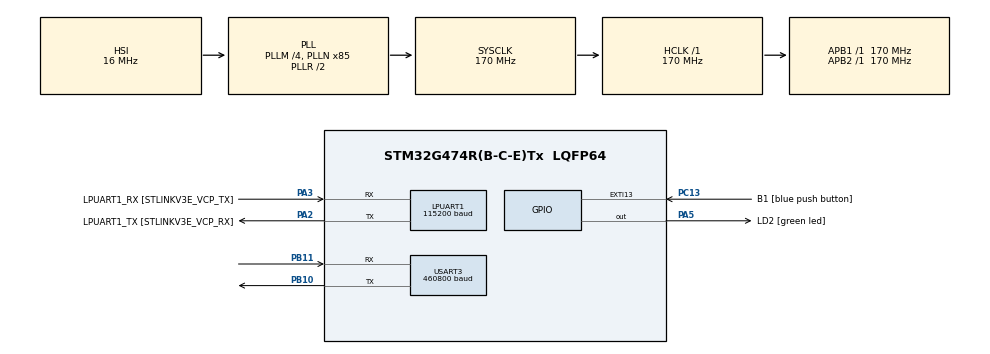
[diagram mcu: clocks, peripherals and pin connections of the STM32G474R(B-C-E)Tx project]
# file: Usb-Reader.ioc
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Dma.Request0=USART3_RX
Dma.USART3_RX.0.Direction=DMA_PERIPH_TO_MEMORY
Dma.USART3_RX.0.EventEnable=DISABLE
Dma.USART3_RX.0.Instance=DMA1_Channel1
Dma.USART3_RX.0.MemDataAlignment=DMA_MDATAALIGN_BYTE
Dma.USART3_RX.0.MemInc=DMA_MINC_ENABLE
Dma.USART3_RX.0.Mode=DMA_NORMAL
Dma.USART3_RX.0.PeriphDataAlignment=DMA_PDATAALIGN_BYTE
Dma.USART3_RX.0.PeriphInc=DMA_PINC_DISABLE
Dma.USART3_RX.0.Polarity=HAL_DMAMUX_REQ_GEN_RISING
Dma.USART3_RX.0.Priority=DMA_PRIORITY_LOW
Dma.USART3_RX.0.RequestNumber=1
Dma.USART3_RX.0.SignalID=NONE
Dma.USART3_RX.0.SyncEnable=DISABLE
Dma.USART3_RX.0.SyncPolarity=HAL_DMAMUX_SYNC_NO_EVENT
Dma.USART3_RX.0.SyncRequestNumber=1
Dma.USART3_RX.0.SyncSignalID=NONE
LPUART1.BaudRate=115200
Mcu.Family=STM32G4
Mcu.Name=STM32G474R(B-C-E)Tx
Mcu.Package=LQFP64
NVIC.DMA1_Channel1_IRQn=true\:0\:0\:false\:false\:true\:false\:true\:true
NVIC.EXTI15_10_IRQn=true\:0\:0\:false\:false\:true\:true\:true\:true
NVIC.PriorityGroup=NVIC_PRIORITYGROUP_4
NVIC.USART3_IRQn=true\:0\:0\:false\:false\:true\:true\:true\:true
PA13.GPIO_Label=T_SWDIO
PA13.Signal=SYS_JTMS-SWDIO
PA14.GPIO_Label=T_SWCLK
PA14.Signal=SYS_JTCK-SWCLK
PA2.GPIO_Label=LPUART1_TX [STLINKV3E_VCP_RX]
PA2.Mode=Asynchronous
PA2.Signal=LPUART1_TX
PA3.GPIO_Label=LPUART1_RX [STLINKV3E_VCP_TX]
PA3.Mode=Asynchronous
PA3.Signal=LPUART1_RX
PA5.GPIO_Label=LD2 [green led]
PA5.Signal=GPIO_Output
PB10.Mode=Asynchronous
PB10.Signal=USART3_TX
PB11.Mode=Asynchronous
PB11.Signal=USART3_RX
PB3.GPIO_Label=T_SWO
PB3.Signal=SYS_JTDO-SWO
PC13.GPIO_Label=B1 [blue push button]
PC13.Signal=GPXTI13
PC14-OSC32_IN.GPIO_Label=RCC_OSC32_IN
PC14-OSC32_IN.Signal=RCC_OSC32_IN
PC15-OSC32_OUT.GPIO_Label=RCC_OSC32_OUT
PC15-OSC32_OUT.Signal=RCC_OSC32_OUT
PF0-OSC_IN.GPIO_Label=RCC_OSC_IN
PF0-OSC_IN.Signal=RCC_OSC_IN
PF1-OSC_OUT.GPIO_Label=RCC_OSC_OUT
PF1-OSC_OUT.Signal=RCC_OSC_OUT
ProjectManager.HeapSize=0x200
ProjectManager.StackSize=0x400
ProjectManager.TargetToolchain=STM32CubeIDE
RCC.ADC12Freq_Value=170000000
RCC.ADC345Freq_Value=170000000
RCC.AHBFreq_Value=170000000
RCC.APB1Freq_Value=170000000
RCC.APB1TimFreq_Value=170000000
RCC.APB2Freq_Value=170000000
RCC.APB2TimFreq_Value=170000000
RCC.CortexFreq_Value=170000000
RCC.EXTERNAL_CLOCK_VALUE=12288000
RCC.HCLKFreq_Value=170000000
RCC.HSE_VALUE=24000000
RCC.HSI48_VALUE=48000000
RCC.HSI_VALUE=16000000
RCC.LSE_VALUE=32768
RCC.PLLM=RCC_PLLM_DIV4
RCC.PLLN=85
RCC.RTCClockSelection=RCC_RTCCLKSOURCE_LSE
RCC.SYSCLKFreq_VALUE=170000000
RCC.SYSCLKSource=RCC_SYSCLKSOURCE_PLLCLK
RCC.USBFreq_Value=170000000
RCC.VCOOutputFreq_Value=340000000
USART3.BaudRate=460800
USART3.VirtualMode-Asynchronous=VM_ASYNC
VP_SYS_VS_DBSignals.Mode=DisableDeadBatterySignals
board=NUCLEO-G474RE

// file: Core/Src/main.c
/* USER CODE BEGIN Header */
/**
  ******************************************************************************
  * @file           : main.c
  * @brief          : Main program body
  ******************************************************************************
  * @attention
  *
  * Copyright (c) 2026 STMicroelectronics.
  * All rights reserved.
  *
  * This software is licensed under terms that can be found in the LICENSE file
  * in the root directory of this software component.
  * If no LICENSE file comes with this software, it is provided AS-IS.
  *
  ******************************************************************************
  */
/* USER CODE END Header */
#include "main.h"

/* USER CODE BEGIN Includes */
#include <stdio.h>
/* USER CODE END Includes */

UART_HandleTypeDef hlpuart1;
UART_HandleTypeDef huart3;
DMA_HandleTypeDef hdma_usart3_rx;

/* USER CODE BEGIN PV */
#define PKT_LEN  15
#define DEADZONE 1500  // ~5% ปรับได้

static uint8_t dma_buf[PKT_LEN * 2];
static uint32_t pkt_ok  = 0;
static uint32_t pkt_err = 0;

// Button defines
#define BTN_DPAD_UP    0x0001
#define BTN_DPAD_DOWN  0x0002
#define BTN_DPAD_LEFT  0x0004
#define BTN_DPAD_RIGHT 0x0008
#define BTN_START      0x0010
#define BTN_BACK       0x0020
#define BTN_L3         0x0040
#define BTN_R3         0x0080
#define BTN_LB         0x0100
#define BTN_RB         0x0200
#define BTN_GUIDE      0x0400
#define BTN_A          0x1000
#define BTN_B          0x2000
#define BTN_X          0x4000
#define BTN_Y          0x8000

typedef struct {
  int16_t  lx, ly, rx, ry;
  uint16_t buttons;
  uint8_t  lt, rt;
  uint8_t  connected;
  uint32_t last_tick;
} JoyState_t;

static JoyState_t joy = {0};
/* USER CODE END PV */

void SystemClock_Config(void);
static void MX_GPIO_Init(void);
static void MX_DMA_Init(void);
static void MX_USART3_UART_Init(void);
static void MX_LPUART1_UART_Init(void);

/* USER CODE BEGIN 0 */
#ifdef __GNUC__
  #define PUTCHAR_PROTOTYPE int __io_putchar(int ch)
#else
  #define PUTCHAR_PROTOTYPE int fputc(int ch, FILE *f)
#endif
PUTCHAR_PROTOTYPE {
  HAL_UART_Transmit(&hlpuart1, (uint8_t *)&ch, 1, HAL_MAX_DELAY);
  return ch;
}

// ─── Internal ───────────────────────────────────────────
static uint8_t crc8(uint8_t *data, uint8_t len) {
  uint8_t crc = 0;
  for (uint8_t i = 0; i < len; i++) crc ^= data[i];
  return crc;
}

static void joy_parse(uint8_t *pkt) {
  if (pkt[0]  != 0xAA)               { pkt_err++; return; }
  if (pkt[14] != 0x55)               { pkt_err++; return; }
  if (crc8(&pkt[1], 12) != pkt[13])  { pkt_err++; return; }
  joy.lx        = (int16_t) ((pkt[1]  << 8) | pkt[2]);
  joy.ly        = (int16_t) ((pkt[3]  << 8) | pkt[4]);
  joy.rx        = (int16_t) ((pkt[5]  << 8) | pkt[6]);
  joy.ry        = (int16_t) ((pkt[7]  << 8) | pkt[8]);
  joy.buttons   = (uint16_t)((pkt[9]  << 8) | pkt[10]);
  joy.lt        = pkt[11];
  joy.rt        = pkt[12];
  joy.connected = 1;
  joy.last_tick = HAL_GetTick();
  pkt_ok++;
}

// ─── Public API ─────────────────────────────────────────

// connection
uint8_t joy_is_connected(void) {
  return joy.connected && (HAL_GetTick() - joy.last_tick < 500);
}

// deadzone helper
static int16_t _dz(int16_t v) {
  return (v > -DEADZONE && v < DEADZONE) ? 0 : v;
}

// raw axis -32768 ~ +32767  (with deadzone)
int16_t joy_lx(void) { return joy_is_connected() ? _dz(joy.lx) : 0; }
int16_t joy_ly(void) { return joy_is_connected() ? _dz(joy.ly) : 0; }
int16_t joy_rx(void) { return joy_is_connected() ? _dz(joy.rx) : 0; }
int16_t joy_ry(void) { return joy_is_connected() ? _dz(joy.ry) : 0; }

// normalized -1.0 ~ +1.0  (ใช้คำนวณ motor)
float joy_lx_f(void) { return joy_lx() / 32767.0f; }
float joy_ly_f(void) { return joy_ly() / 32767.0f; }
float joy_rx_f(void) { return joy_rx() / 32767.0f; }
float joy_ry_f(void) { return joy_ry() / 32767.0f; }

// trigger 0~255
uint8_t joy_lt(void) { return joy_is_connected() ? joy.lt : 0; }
uint8_t joy_rt(void) { return joy_is_connected() ? joy.rt : 0; }

// trigger normalized 0.0~1.0
float joy_lt_f(void) { return joy_lt() / 255.0f; }
float joy_rt_f(void) { return joy_rt() / 255.0f; }

// button check
uint8_t joy_btn(uint16_t mask) {
  return joy_is_connected() ? ((joy.buttons & mask) != 0) : 0;
}
/* USER CODE END 0 */

int main(void)
{

  /* MCU Configuration--------------------------------------------------------*/

  /* Reset of all peripherals, Initializes the Flash interface and the Systick. */
  HAL_Init();

  /* Configure the system clock */
  SystemClock_Config();

  /* Initialize all configured peripherals */
  MX_GPIO_Init();
  MX_DMA_Init();
  MX_USART3_UART_Init();
  MX_LPUART1_UART_Init();
  /* USER CODE BEGIN 2 */
  printf("\r\n=== Robot Controller Ready ===\r\n");
  HAL_UARTEx_ReceiveToIdle_DMA(&huart3, dma_buf, sizeof(dma_buf));
  __HAL_DMA_DISABLE_IT(huart3.hdmarx, DMA_IT_HT);
  /* USER CODE END 2 */

  /* Infinite loop */
  while (1)
  {

    /* USER CODE BEGIN 3 */
	    if (!joy_is_connected()) {
	      // ===== SAFETY STOP =====
	      // motor_stop();  ← ใส่ฟังก์ชัน stop ของคุณตรงนี้
	      printf("NO CTRL | OK:%lu ERR:%lu\r\n", pkt_ok, pkt_err);

	    } else {
	      // ===== ใช้งานได้เลย =====

	      // Axis (ใช้ตัวไหนก็ได้)
	      // int16_t lx = joy_lx();        // raw  -32768~+32767
	      // float   lx = joy_lx_f();      // norm -1.0~+1.0

	      // Trigger
	      // float lt = joy_lt_f();        // 0.0~1.0
	      // float rt = joy_rt_f();

	      // Button
	      // if (joy_btn(BTN_A))  { ... }
	      // if (joy_btn(BTN_LB)) { ... }

	      // ── Debug print (ลบออกตอน deploy) ──
	    	printf("LX:%6d LY:%6d | RX:%6d RY:%6d | LT:%3d RT:%3d\r\n",
	    	       joy_lx(), joy_ly(), joy_rx(), joy_ry(),
	    	       joy_lt(), joy_rt());
	      if (joy_btn(BTN_A))          printf("[A]");
	      if (joy_btn(BTN_B))          printf("[B]");
	      if (joy_btn(BTN_X))          printf("[X]");
	      if (joy_btn(BTN_Y))          printf("[Y]");
	      if (joy_btn(BTN_LB))         printf("[LB]");
	      if (joy_btn(BTN_RB))         printf("[RB]");
	      if (joy_btn(BTN_START))      printf("[ST]");
	      if (joy_btn(BTN_BACK))       printf("[BK]");
	      if (joy_btn(BTN_DPAD_UP))    printf("[UP]");
	      if (joy_btn(BTN_DPAD_DOWN))  printf("[DN]");
	      if (joy_btn(BTN_DPAD_LEFT))  printf("[LF]");
	      if (joy_btn(BTN_DPAD_RIGHT)) printf("[RT]");
	      if (joy_btn(BTN_L3))         printf("[L3]");
	      if (joy_btn(BTN_R3))         printf("[R3]");
	      printf("\r\n");
	    }

	    HAL_Delay(20); // 50Hz loop
  }
  /* USER CODE END 3 */
}

void SystemClock_Config(void)
{
  RCC_OscInitTypeDef RCC_OscInitStruct = {0};
  RCC_ClkInitTypeDef RCC_ClkInitStruct = {0};

  /** Configure the main internal regulator output voltage
  */
  HAL_PWREx_ControlVoltageScaling(PWR_REGULATOR_VOLTAGE_SCALE1_BOOST);

  /** Initializes the RCC Oscillators according to the specified parameters
  * in the RCC_OscInitTypeDef structure.
  */
  RCC_OscInitStruct.OscillatorType = RCC_OSCILLATORTYPE_HSI;
  RCC_OscInitStruct.HSIState = RCC_HSI_ON;
  RCC_OscInitStruct.HSICalibrationValue = RCC_HSICALIBRATION_DEFAULT;
  RCC_OscInitStruct.PLL.PLLState = RCC_PLL_ON;
  RCC_OscInitStruct.PLL.PLLSource = RCC_PLLSOURCE_HSI;
  RCC_OscInitStruct.PLL.PLLM = RCC_PLLM_DIV4;
  RCC_OscInitStruct.PLL.PLLN = 85;
  RCC_OscInitStruct.PLL.PLLP = RCC_PLLP_DIV2;
  RCC_OscInitStruct.PLL.PLLQ = RCC_PLLQ_DIV2;
  RCC_OscInitStruct.PLL.PLLR = RCC_PLLR_DIV2;
  if (HAL_RCC_OscConfig(&RCC_OscInitStruct) != HAL_OK)
  {
    Error_Handler();
  }

  /** Initializes the CPU, AHB and APB buses clocks
  */
  RCC_ClkInitStruct.ClockType = RCC_CLOCKTYPE_HCLK|RCC_CLOCKTYPE_SYSCLK
                              |RCC_CLOCKTYPE_PCLK1|RCC_CLOCKTYPE_PCLK2;
  RCC_ClkInitStruct.SYSCLKSource = RCC_SYSCLKSOURCE_PLLCLK;
  RCC_ClkInitStruct.AHBCLKDivider = RCC_SYSCLK_DIV1;
  RCC_ClkInitStruct.APB1CLKDivider = RCC_HCLK_DIV1;
  RCC_ClkInitStruct.APB2CLKDivider = RCC_HCLK_DIV1;

  if (HAL_RCC_ClockConfig(&RCC_ClkInitStruct, FLASH_LATENCY_4) != HAL_OK)
  {
    Error_Handler();
  }
}

static void MX_LPUART1_UART_Init(void)
{

  hlpuart1.Instance = LPUART1;
  hlpuart1.Init.BaudRate = 115200;
  hlpuart1.Init.WordLength = UART_WORDLENGTH_8B;
  hlpuart1.Init.StopBits = UART_STOPBITS_1;
  hlpuart1.Init.Parity = UART_PARITY_NONE;
  hlpuart1.Init.Mode = UART_MODE_TX_RX;
  hlpuart1.Init.HwFlowCtl = UART_HWCONTROL_NONE;
  hlpuart1.Init.OneBitSampling = UART_ONE_BIT_SAMPLE_DISABLE;
  hlpuart1.Init.ClockPrescaler = UART_PRESCALER_DIV1;
  hlpuart1.AdvancedInit.AdvFeatureInit = UART_ADVFEATURE_NO_INIT;
  if (HAL_UART_Init(&hlpuart1) != HAL_OK)
  {
    Error_Handler();
  }
  if (HAL_UARTEx_SetTxFifoThreshold(&hlpuart1, UART_TXFIFO_THRESHOLD_1_8) != HAL_OK)
  {
    Error_Handler();
  }
  if (HAL_UARTEx_SetRxFifoThreshold(&hlpuart1, UART_RXFIFO_THRESHOLD_1_8) != HAL_OK)
  {
    Error_Handler();
  }
  if (HAL_UARTEx_DisableFifoMode(&hlpuart1) != HAL_OK)
  {
    Error_Handler();
  }

}

static void MX_USART3_UART_Init(void)
{

  huart3.Instance = USART3;
  huart3.Init.BaudRate = 460800;
  huart3.Init.WordLength = UART_WORDLENGTH_8B;
  huart3.Init.StopBits = UART_STOPBITS_1;
  huart3.Init.Parity = UART_PARITY_NONE;
  huart3.Init.Mode = UART_MODE_TX_RX;
  huart3.Init.HwFlowCtl = UART_HWCONTROL_NONE;
  huart3.Init.OverSampling = UART_OVERSAMPLING_16;
  huart3.Init.OneBitSampling = UART_ONE_BIT_SAMPLE_DISABLE;
  huart3.Init.ClockPrescaler = UART_PRESCALER_DIV1;
  huart3.AdvancedInit.AdvFeatureInit = UART_ADVFEATURE_NO_INIT;
  if (HAL_UART_Init(&huart3) != HAL_OK)
  {
    Error_Handler();
  }
  if (HAL_UARTEx_SetTxFifoThreshold(&huart3, UART_TXFIFO_THRESHOLD_1_8) != HAL_OK)
  {
    Error_Handler();
  }
  if (HAL_UARTEx_SetRxFifoThreshold(&huart3, UART_RXFIFO_THRESHOLD_1_8) != HAL_OK)
  {
    Error_Handler();
  }
  if (HAL_UARTEx_DisableFifoMode(&huart3) != HAL_OK)
  {
    Error_Handler();
  }

}

static void MX_DMA_Init(void)
{

  /* DMA controller clock enable */
  __HAL_RCC_DMAMUX1_CLK_ENABLE();
  __HAL_RCC_DMA1_CLK_ENABLE();

  /* DMA interrupt init */
  /* DMA1_Channel1_IRQn interrupt configuration */
  HAL_NVIC_SetPriority(DMA1_Channel1_IRQn, 0, 0);
  HAL_NVIC_EnableIRQ(DMA1_Channel1_IRQn);

}

static void MX_GPIO_Init(void)
{
  GPIO_InitTypeDef GPIO_InitStruct = {0};

  /* GPIO Ports Clock Enable */
  __HAL_RCC_GPIOC_CLK_ENABLE();
  __HAL_RCC_GPIOF_CLK_ENABLE();
  __HAL_RCC_GPIOA_CLK_ENABLE();
  __HAL_RCC_GPIOB_CLK_ENABLE();

  /*Configure GPIO pin Output Level */
  HAL_GPIO_WritePin(LD2_GPIO_Port, LD2_Pin, GPIO_PIN_RESET);

  /*Configure GPIO pin : B1_Pin */
  GPIO_InitStruct.Pin = B1_Pin;
  GPIO_InitStruct.Mode = GPIO_MODE_IT_RISING;
  GPIO_InitStruct.Pull = GPIO_NOPULL;
  HAL_GPIO_Init(B1_GPIO_Port, &GPIO_InitStruct);

  /*Configure GPIO pin : LD2_Pin */
  GPIO_InitStruct.Pin = LD2_Pin;
  GPIO_InitStruct.Mode = GPIO_MODE_OUTPUT_PP;
  GPIO_InitStruct.Pull = GPIO_NOPULL;
  GPIO_InitStruct.Speed = GPIO_SPEED_FREQ_LOW;
  HAL_GPIO_Init(LD2_GPIO_Port, &GPIO_InitStruct);

  /* EXTI interrupt init*/
  HAL_NVIC_SetPriority(EXTI15_10_IRQn, 0, 0);
  HAL_NVIC_EnableIRQ(EXTI15_10_IRQn);

}

/* USER CODE BEGIN 4 */
void HAL_UARTEx_RxEventCallback(UART_HandleTypeDef *huart, uint16_t Size)
{
  if (huart->Instance == USART3)
  {
    for (uint16_t i = 0; i + PKT_LEN <= Size; i++) {
      if (dma_buf[i] == 0xAA) {
        joy_parse(&dma_buf[i]);
        break;
      }
    }
    HAL_UARTEx_ReceiveToIdle_DMA(&huart3, dma_buf, sizeof(dma_buf));
    __HAL_DMA_DISABLE_IT(huart3.hdmarx, DMA_IT_HT);
  }
}
/* USER CODE END 4 */

void Error_Handler(void)
{
  __disable_irq();
  while (1)
  {
  }
}
